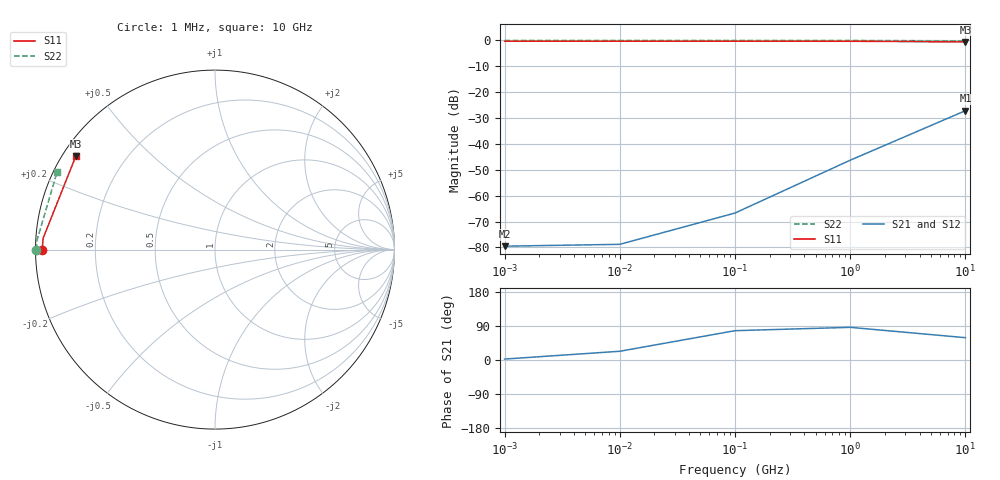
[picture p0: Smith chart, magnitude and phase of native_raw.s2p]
! Sonnet Data File
! From: em Version : 18.53-Lite
! From Project: project
! Data is NOT De-embedded
! Data File Written: 10/07/2026 10:02:35
!< HDATE 10/07/2026 10:02:35
!< MDATE 10/07/2026 10:02:35
# GHZ S RI R 50.00000
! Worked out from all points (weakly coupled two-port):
!   5 points, 1 MHz to 10 GHz, reference 50 ohm
!   highest |S21| = -27.17 dB at 10 GHz (marker M1); lowest = -79.5 dB at 1 MHz (marker M2)
!   lowest |S11| = -0.6 dB at 10 GHz (marker M3), VSWR 29.38, Z = 1.86 + j15.2 ohm
!   |S11| at or under -10 dB: nowhere
!   |S22| runs from -0.2 to 0.0 dB; largest |S21 - S12| = 4e-16
0.001  -0.9622 6.55e-05  0.000106 4.54e-06  0.000106 4.54e-06  -0.9957 5.19e-05
0.01  -0.9622 0.000654  0.000106 4.5e-05  0.000106 4.5e-05  -0.9957 0.000517
0.1  -0.9622 0.00653  0.000101 0.000451  0.000101 0.000451  -0.9957 0.00517
1  -0.9577 0.0634  0.000322 0.00484  0.000322 0.00484  -0.9923 0.0496
10  -0.7751 0.5214  0.0226 0.0375  0.0226 0.0375  -0.8799 0.4325
